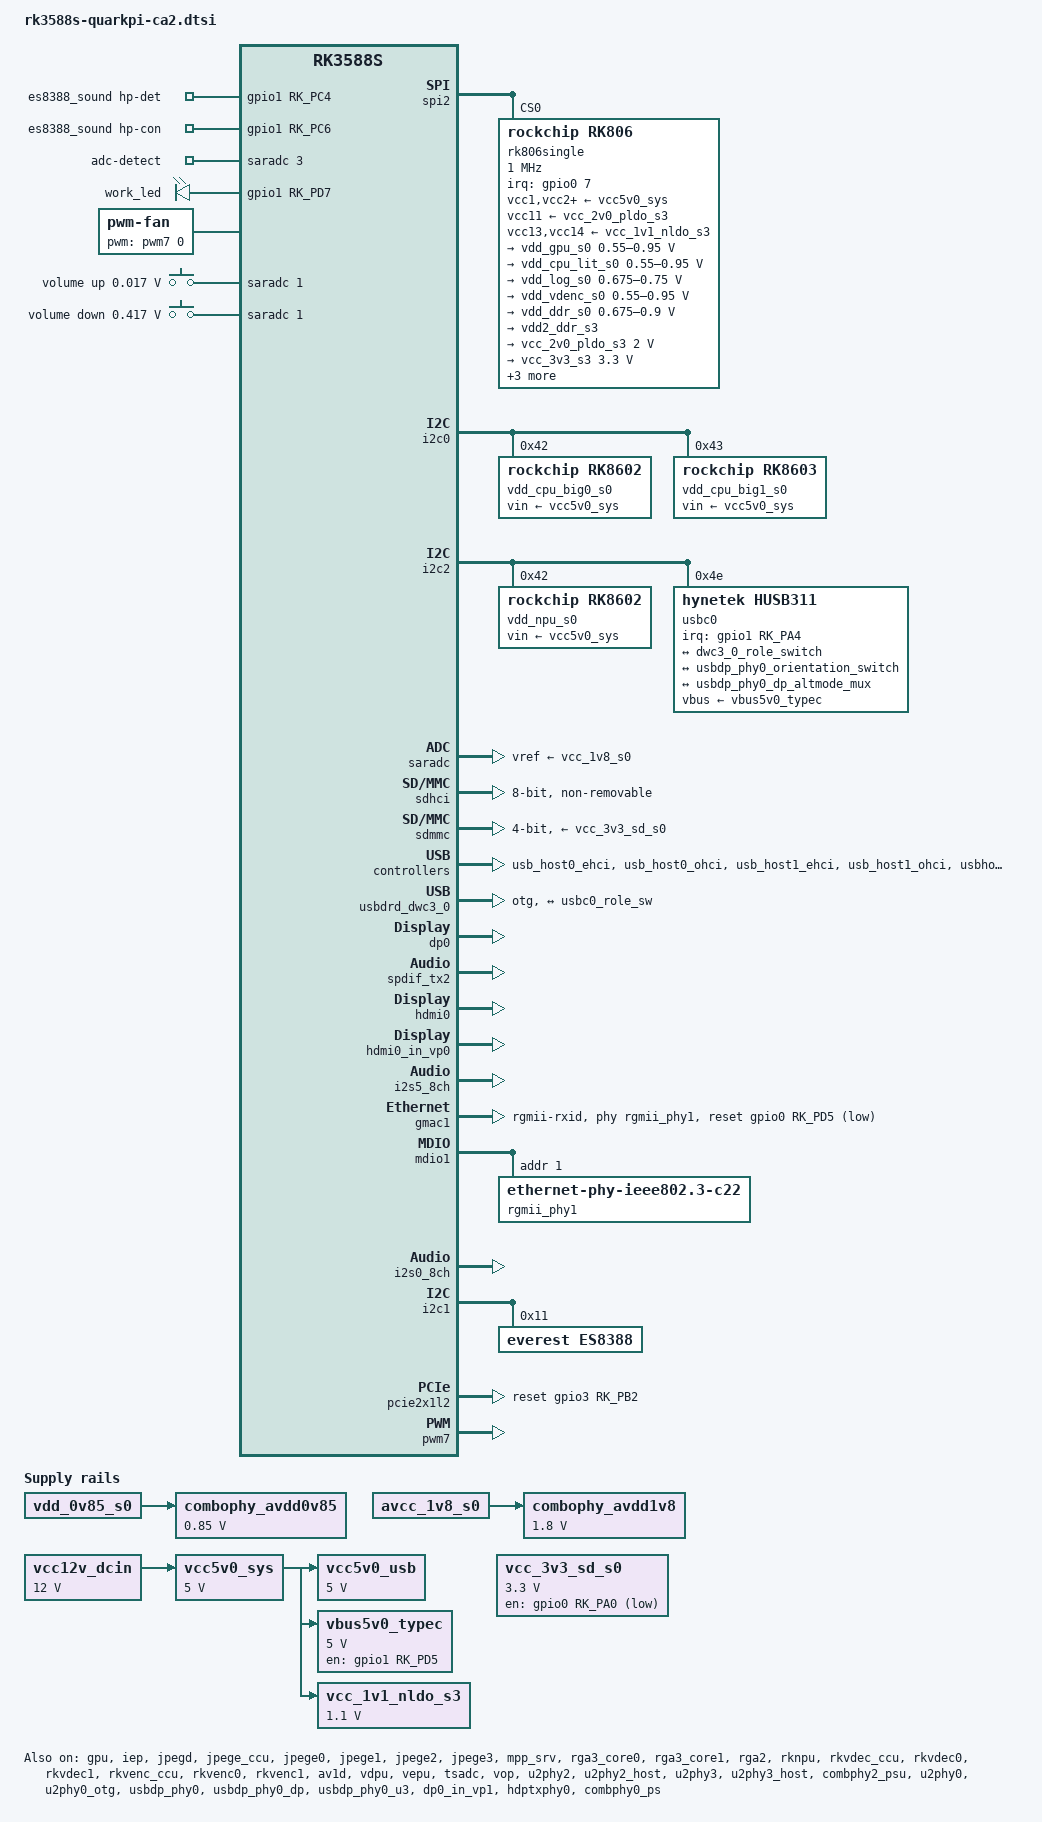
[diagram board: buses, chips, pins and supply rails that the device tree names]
// SPDX-License-Identifier: (GPL-2.0+ OR MIT)
/*
 * Copyright (c) 2021 Rockchip Electronics Co., Ltd.
 *
 */

#include <dt-bindings/gpio/gpio.h>
#include <dt-bindings/pinctrl/rockchip.h>
#include "dt-bindings/usb/pd.h"
#include <dt-bindings/gpio/gpio.h>
#include <dt-bindings/pwm/pwm.h>
#include <dt-bindings/pinctrl/rockchip.h>
#include <dt-bindings/input/rk-input.h>
#include <dt-bindings/display/drm_mipi_dsi.h>
#include <dt-bindings/display/rockchip_vop.h>
#include <dt-bindings/sensor-dev.h>
#include "rk3588s.dtsi"

/* power node  */
/ {  
	vcc12v_dcin: vcc12v-dcin {
		compatible = "regulator-fixed";
		regulator-name = "vcc12v_dcin";
		regulator-always-on;
		regulator-boot-on;
		regulator-min-microvolt = <12000000>;
		regulator-max-microvolt = <12000000>;
	};

	vcc5v0_sys: vcc5v0-sys {
		compatible = "regulator-fixed";
		regulator-name = "vcc5v0_sys";
		regulator-always-on;
		regulator-boot-on;
		regulator-min-microvolt = <5000000>;
		regulator-max-microvolt = <5000000>;
		vin-supply = <&vcc12v_dcin>;
	};

	vcc5v0_usb: vcc5v0-usb {
		compatible = "regulator-fixed";
		regulator-name = "vcc5v0_usb";
		regulator-always-on;
		regulator-boot-on;
		regulator-min-microvolt = <5000000>;
		regulator-max-microvolt = <5000000>;
		vin-supply = <&vcc5v0_sys>;
	};

	vbus5v0_typec: vbus5v0-typec {
		compatible = "regulator-fixed";
		regulator-name = "vbus5v0_typec";
		regulator-min-microvolt = <5000000>;
		regulator-max-microvolt = <5000000>;
		enable-active-high;
		gpio = <&gpio1 RK_PD5 GPIO_ACTIVE_HIGH>;
		vin-supply = <&vcc5v0_sys>;
		pinctrl-names = "default";
		pinctrl-0 = <&typec5v_pwren>;
	};

	vcc_1v1_nldo_s3: vcc-1v1-nldo-s3 {
		compatible = "regulator-fixed";
		regulator-name = "vcc_1v1_nldo_s3";
		regulator-always-on;
		regulator-boot-on;
		regulator-min-microvolt = <1100000>;
		regulator-max-microvolt = <1100000>;
		vin-supply = <&vcc5v0_sys>;
	};

	vcc_3v3_sd_s0: vcc-3v3-sd-s0-regulator {
		compatible = "regulator-fixed";
		gpio = <&gpio0 RK_PA0 GPIO_ACTIVE_LOW>;
		pinctrl-names = "default";
		pinctrl-0 = <&sd_s0_pwr>;
		regulator-name = "vcc_3v3_sd_s0";
		regulator-min-microvolt = <3300000>;
		regulator-max-microvolt = <3300000>;
		enable-active-low;
	};

	combophy_avdd0v85: combophy-avdd0v85 {
		compatible = "regulator-fixed";
		regulator-name = "combophy_avdd0v85";
		regulator-boot-on;
		regulator-always-on;
		regulator-min-microvolt = <850000>;
		regulator-max-microvolt = <850000>;
		vin-supply = <&vdd_0v85_s0>;
	};

	combophy_avdd1v8: combophy-avdd1v8 {
		compatible = "regulator-fixed";
		regulator-name = "combophy_avdd1v8";
		regulator-boot-on;
		regulator-always-on;
		regulator-min-microvolt = <1800000>;
		regulator-max-microvolt = <1800000>;
		vin-supply = <&avcc_1v8_s0>;
	};

};

&spi2 {
	status = "okay";
	assigned-clocks = <&cru CLK_SPI2>;
	assigned-clock-rates = <200000000>;
	pinctrl-names = "default";
	pinctrl-0 = <&spi2m2_cs0 &spi2m2_pins>;
	num-cs = <1>;

	rk806single: rk806single@0 {
		compatible = "rockchip,rk806";
		spi-max-frequency = <1000000>;
		reg = <0x0>;

		interrupt-parent = <&gpio0>;
		interrupts = <7 IRQ_TYPE_LEVEL_LOW>;

		pinctrl-names = "default", "pmic-power-off";
		pinctrl-0 = <&pmic_pins>, <&rk806_dvs1_null>, <&rk806_dvs2_null>, <&rk806_dvs3_null>;
		pinctrl-1 = <&rk806_dvs1_pwrdn>;

		/* 2800mv-3500mv */
		low_voltage_threshold = <3000>;
		/* 2700mv-3400mv */
		shutdown_voltage_threshold = <2700>;
		/* 140 160 */
		shutdown_temperture_threshold = <160>;
		hotdie_temperture_threshold = <115>;

		/* 0: restart PMU;
		 * 1: reset all the power off reset registers,
		 *    forcing the state to switch to ACTIVE mode;
		 * 2: Reset all the power off reset registers,
		 *    forcing the state to switch to ACTIVE mode,
		 *    and simultaneously pull down the RESETB PIN for 5mS before releasing
		 */
		pmic-reset-func = <1>;

		vcc1-supply = <&vcc5v0_sys>;
		vcc2-supply = <&vcc5v0_sys>;
		vcc3-supply = <&vcc5v0_sys>;
		vcc4-supply = <&vcc5v0_sys>;
		vcc5-supply = <&vcc5v0_sys>;
		vcc6-supply = <&vcc5v0_sys>;
		vcc7-supply = <&vcc5v0_sys>;
		vcc8-supply = <&vcc5v0_sys>;
		vcc9-supply = <&vcc5v0_sys>;
		vcc10-supply = <&vcc5v0_sys>;
		vcc11-supply = <&vcc_2v0_pldo_s3>;
		vcc12-supply = <&vcc5v0_sys>;
		vcc13-supply = <&vcc_1v1_nldo_s3>;
		vcc14-supply = <&vcc_1v1_nldo_s3>;
		vcca-supply = <&vcc5v0_sys>;

		pwrkey {
			status = "okay";
		};

		pinctrl_rk806: pinctrl_rk806 {
			gpio-controller;
			#gpio-cells = <2>;

			rk806_dvs1_null: rk806_dvs1_null {
				pins = "gpio_pwrctrl2";
				function = "pin_fun0";
			};

			rk806_dvs1_slp: rk806_dvs1_slp {
				pins = "gpio_pwrctrl1";
				function = "pin_fun1";
			};

			rk806_dvs1_pwrdn: rk806_dvs1_pwrdn {
				pins = "gpio_pwrctrl1";
				function = "pin_fun2";
			};

			rk806_dvs1_rst: rk806_dvs1_rst {
				pins = "gpio_pwrctrl1";
				function = "pin_fun3";
			};

			rk806_dvs2_null: rk806_dvs2_null {
				pins = "gpio_pwrctrl2";
				function = "pin_fun0";
			};

			rk806_dvs2_slp: rk806_dvs2_slp {
				pins = "gpio_pwrctrl2";
				function = "pin_fun1";
			};

			rk806_dvs2_pwrdn: rk806_dvs2_pwrdn {
				pins = "gpio_pwrctrl2";
				function = "pin_fun2";
			};

			rk806_dvs2_rst: rk806_dvs2_rst {
				pins = "gpio_pwrctrl2";
				function = "pin_fun3";
			};

			rk806_dvs2_dvs: rk806_dvs2_dvs {
				pins = "gpio_pwrctrl2";
				function = "pin_fun4";
			};

			rk806_dvs2_gpio: rk806_dvs2_gpio {
				pins = "gpio_pwrctrl2";
				function = "pin_fun5";
			};

			rk806_dvs3_null: rk806_dvs3_null {
				pins = "gpio_pwrctrl3";
				function = "pin_fun0";
			};

			rk806_dvs3_slp: rk806_dvs3_slp {
				pins = "gpio_pwrctrl3";
				function = "pin_fun1";
			};

			rk806_dvs3_pwrdn: rk806_dvs3_pwrdn {
				pins = "gpio_pwrctrl3";
				function = "pin_fun2";
			};

			rk806_dvs3_rst: rk806_dvs3_rst {
				pins = "gpio_pwrctrl3";
				function = "pin_fun3";
			};

			rk806_dvs3_dvs: rk806_dvs3_dvs {
				pins = "gpio_pwrctrl3";
				function = "pin_fun4";
			};

			rk806_dvs3_gpio: rk806_dvs3_gpio {
				pins = "gpio_pwrctrl3";
				function = "pin_fun5";
			};
		};

		regulators {
			vdd_gpu_s0: vdd_gpu_mem_s0: DCDC_REG1 {
				regulator-boot-on;
				regulator-min-microvolt = <550000>;
				regulator-max-microvolt = <950000>;
				regulator-ramp-delay = <12500>;
				regulator-name = "vdd_gpu_s0";
				regulator-enable-ramp-delay = <400>;
				regulator-state-mem {
					regulator-off-in-suspend;
				};
			};

			vdd_cpu_lit_s0: vdd_cpu_lit_mem_s0: DCDC_REG2 {
				regulator-always-on;
				regulator-boot-on;
				regulator-init-microvolt = <800000>;
				regulator-min-microvolt = <550000>;
				regulator-max-microvolt = <950000>;
				regulator-ramp-delay = <12500>;
				regulator-name = "vdd_cpu_lit_s0";
				regulator-state-mem {
					regulator-off-in-suspend;
				};
			};

			vdd_log_s0: DCDC_REG3 {
				regulator-always-on;
				regulator-boot-on;
				regulator-min-microvolt = <675000>;
				regulator-max-microvolt = <750000>;
				regulator-ramp-delay = <12500>;
				regulator-name = "vdd_log_s0";
				regulator-state-mem {
					regulator-off-in-suspend;
					regulator-suspend-microvolt = <750000>;
				};
			};

			vdd_vdenc_s0: vdd_vdenc_mem_s0: DCDC_REG4 {
				regulator-always-on;
				regulator-boot-on;
				regulator-min-microvolt = <550000>;
				regulator-max-microvolt = <950000>;
				regulator-init-microvolt = <750000>;
				regulator-ramp-delay = <12500>;
				regulator-name = "vdd_vdenc_s0";
				regulator-state-mem {
					regulator-off-in-suspend;
				};
			};

			vdd_ddr_s0: DCDC_REG5 {
				regulator-always-on;
				regulator-boot-on;
				regulator-min-microvolt = <675000>;
				regulator-max-microvolt = <900000>;
				regulator-ramp-delay = <12500>;
				regulator-name = "vdd_ddr_s0";
				regulator-state-mem {
					regulator-off-in-suspend;
					regulator-suspend-microvolt = <850000>;
				};
			};

			vdd2_ddr_s3: DCDC_REG6 {
				regulator-always-on;
				regulator-boot-on;
				regulator-name = "vdd2_ddr_s3";
				regulator-state-mem {
					regulator-on-in-suspend;
				};
			};

			vcc_2v0_pldo_s3: DCDC_REG7 {
				regulator-always-on;
				regulator-boot-on;
				regulator-min-microvolt = <2000000>;
				regulator-max-microvolt = <2000000>;
				regulator-name = "vdd_2v0_pldo_s3";
				regulator-state-mem {
					regulator-on-in-suspend;
					regulator-suspend-microvolt = <2000000>;
				};
			};

			vcc_3v3_s3: DCDC_REG8 {
				regulator-always-on;
				regulator-boot-on;
				regulator-min-microvolt = <3300000>;
				regulator-max-microvolt = <3300000>;
				regulator-name = "vcc_3v3_s3";
				regulator-state-mem {
					regulator-on-in-suspend;
					regulator-suspend-microvolt = <3300000>;
				};
			};

			vddq_ddr_s0: DCDC_REG9 {
				regulator-always-on;
				regulator-boot-on;
				regulator-name = "vddq_ddr_s0";
				regulator-state-mem {
					regulator-off-in-suspend;
				};
			};

			vcc_1v8_s3: DCDC_REG10 {
				regulator-always-on;
				regulator-boot-on;
				regulator-min-microvolt = <1800000>;
				regulator-max-microvolt = <1800000>;
				regulator-name = "vcc_1v8_s3";
				regulator-state-mem {
					regulator-on-in-suspend;
					regulator-suspend-microvolt = <1800000>;
				};
			};

			avcc_1v8_s0: PLDO_REG1 {
				regulator-always-on;
				regulator-boot-on;
				regulator-min-microvolt = <1800000>;
				regulator-max-microvolt = <1800000>;
				regulator-name = "avcc_1v8_s0";
				regulator-state-mem {
					regulator-off-in-suspend;
				};
			};

			vcc_1v8_s0: PLDO_REG2 {
				regulator-always-on;
				regulator-boot-on;
				regulator-min-microvolt = <1800000>;
				regulator-max-microvolt = <1800000>;
				regulator-name = "vcc_1v8_s0";
				regulator-state-mem {
					regulator-off-in-suspend;
					regulator-suspend-microvolt = <1800000>;
				};
			};

			avdd_1v2_s0: PLDO_REG3 {
				regulator-always-on;
				regulator-boot-on;
				regulator-min-microvolt = <1200000>;
				regulator-max-microvolt = <1200000>;
				regulator-name = "avdd_1v2_s0";
				regulator-state-mem {
					regulator-off-in-suspend;
				};
			};

			vcc_3v3_s0: PLDO_REG4 {
				regulator-always-on;
				regulator-boot-on;
				regulator-min-microvolt = <3300000>;
				regulator-max-microvolt = <3300000>;
				regulator-name = "vcc_3v3_s0";
				regulator-state-mem {
					regulator-off-in-suspend;
				};
			};

			vccio_sd_s0: PLDO_REG5 {
				regulator-always-on;
				regulator-boot-on;
				regulator-min-microvolt = <1800000>;
				regulator-max-microvolt = <3300000>;
				regulator-name = "vccio_sd_s0";
				regulator-state-mem {
					regulator-off-in-suspend;
				};
			};

			pldo6_s3: PLDO_REG6 {
				regulator-always-on;
				regulator-boot-on;
				regulator-min-microvolt = <1800000>;
				regulator-max-microvolt = <1800000>;
				regulator-name = "pldo6_s3";
				regulator-state-mem {
					regulator-on-in-suspend;
					regulator-suspend-microvolt = <1800000>;
				};
			};

			vdd_0v75_s3: NLDO_REG1 {
				regulator-always-on;
				regulator-boot-on;
				regulator-min-microvolt = <750000>;
				regulator-max-microvolt = <750000>;
				regulator-name = "vdd_0v75_s3";
				regulator-state-mem {
					regulator-on-in-suspend;
					regulator-suspend-microvolt = <750000>;
				};
			};

			vdd_ddr_pll_s0: NLDO_REG2 {
				regulator-always-on;
				regulator-boot-on;
				regulator-min-microvolt = <850000>;
				regulator-max-microvolt = <850000>;
				regulator-name = "vdd_ddr_pll_s0";
				regulator-state-mem {
					regulator-off-in-suspend;
					regulator-suspend-microvolt = <850000>;
				};
			};

			avdd_0v75_s0: NLDO_REG3 {
				regulator-always-on;
				regulator-boot-on;
				regulator-min-microvolt = <837500>;
				regulator-max-microvolt = <837500>;
				regulator-name = "avdd_0v75_s0";
				regulator-state-mem {
					regulator-off-in-suspend;
				};
			};

			vdd_0v85_s0: NLDO_REG4 {
				regulator-always-on;
				regulator-boot-on;
				regulator-min-microvolt = <850000>;
				regulator-max-microvolt = <850000>;
				regulator-name = "vdd_0v85_s0";
				regulator-state-mem {
					regulator-off-in-suspend;
				};
			};

			vdd_0v75_s0: NLDO_REG5 {
				regulator-always-on;
				regulator-boot-on;
				regulator-min-microvolt = <750000>;
				regulator-max-microvolt = <750000>;
				regulator-name = "vdd_0v75_s0";
				regulator-state-mem {
					regulator-off-in-suspend;
				};
			};
		};
	};
};

&i2c0 {
	status = "okay";
	pinctrl-names = "default";
	pinctrl-0 = <&i2c0m2_xfer>;

	vdd_cpu_big0_s0: vdd_cpu_big0_mem_s0: rk8602@42 {
		compatible = "rockchip,rk8602";
		reg = <0x42>;
		vin-supply = <&vcc5v0_sys>;
		regulator-compatible = "rk860x-reg";
		regulator-name = "vdd_cpu_big0_s0";
		regulator-min-microvolt = <550000>;
		regulator-max-microvolt = <1050000>;
		regulator-ramp-delay = <2300>;
		rockchip,suspend-voltage-selector = <1>;
		regulator-boot-on;
		regulator-always-on;
		regulator-state-mem {
			regulator-off-in-suspend;
		};
	};

	vdd_cpu_big1_s0: vdd_cpu_big1_mem_s0: rk8603@43 {
		compatible = "rockchip,rk8603";
		reg = <0x43>;
		vin-supply = <&vcc5v0_sys>;
		regulator-compatible = "rk860x-reg";
		regulator-name = "vdd_cpu_big1_s0";
		regulator-min-microvolt = <550000>;
		regulator-max-microvolt = <1050000>;
		regulator-ramp-delay = <2300>;
		rockchip,suspend-voltage-selector = <1>;
		regulator-boot-on;
		regulator-always-on;
		regulator-state-mem {
			regulator-off-in-suspend;
		};
	};
};

&i2c2 {
	status = "okay";
	pinctrl-0 = <&i2c2m0_xfer>;
	
	vdd_npu_s0: vdd_npu_mem_s0: rk8602@42 {
		compatible = "rockchip,rk8602";
		reg = <0x42>;
		vin-supply = <&vcc5v0_sys>;
		regulator-compatible = "rk860x-reg";
		regulator-name = "vdd_npu_s0";
		regulator-min-microvolt = <550000>;
		regulator-max-microvolt = <950000>;
		regulator-ramp-delay = <2300>;
		rockchip,suspend-voltage-selector = <1>;
		regulator-boot-on;
		regulator-always-on;
		regulator-state-mem {
			regulator-off-in-suspend;
		};
	};
};
/* power node end */	

/* cpu gpu vpu npu */
&cpu_l0 {
	cpu-supply = <&vdd_cpu_lit_s0>;
	mem-supply = <&vdd_cpu_lit_mem_s0>;
};

&cpu_b0 {
	cpu-supply = <&vdd_cpu_big0_s0>;
	mem-supply = <&vdd_cpu_big0_mem_s0>;
};

&cpu_b2 {
	cpu-supply = <&vdd_cpu_big1_s0>;
	mem-supply = <&vdd_cpu_big1_mem_s0>;
};

&gpu {
	mali-supply = <&vdd_gpu_s0>;
	mem-supply = <&vdd_gpu_mem_s0>;
	status = "okay";
};

&iep {
	status = "okay";
};

&iep_mmu {
	status = "okay";
};

&jpegd {
	status = "okay";
};

&jpegd_mmu {
	status = "okay";
};

&jpege_ccu {
	status = "okay";
};

&jpege0 {
	status = "okay";
};

&jpege0_mmu {
	status = "okay";
};

&jpege1 {
	status = "okay";
};

&jpege1_mmu {
	status = "okay";
};

&jpege2 {
	status = "okay";
};

&jpege2_mmu {
	status = "okay";
};

&jpege3 {
	status = "okay";
};

&jpege3_mmu {
	status = "okay";
};

&mpp_srv {
	status = "okay";
};

&rga3_core0 {
	status = "okay";
};

&rga3_0_mmu {
	status = "okay";
};

&rga3_core1 {
	status = "okay";
};

&rga3_1_mmu {
	status = "okay";
};

&rga2 {
	status = "okay";
};

&rknpu {
	rknpu-supply = <&vdd_npu_s0>;
	mem-supply = <&vdd_npu_mem_s0>;
	status = "okay";
};

&rknpu_mmu {
	status = "okay";
};

&rkvdec_ccu {
	status = "okay";
};

&rkvdec0 {
	status = "okay";
};

&rkvdec0_mmu {
	status = "okay";
};

&rkvdec1 {
	status = "okay";
};

&rkvdec1_mmu {
	status = "okay";
};

&rkvenc_ccu {
	status = "okay";
};

&rkvenc0 {
	venc-supply = <&vdd_vdenc_s0>;
	mem-supply = <&vdd_vdenc_mem_s0>;
	status = "okay";
};

&rkvenc0_mmu {
	status = "okay";
};

&rkvenc1 {
	venc-supply = <&vdd_vdenc_s0>;
	mem-supply = <&vdd_vdenc_mem_s0>;
	status = "okay";
};

&rkvenc1_mmu {
	status = "okay";
};

&av1d {
	status = "okay";
};

&av1d_mmu {
	status = "okay";
};

&vdpu {
	status = "okay";
};

&vdpu_mmu {
	status = "okay";
};

&vepu {
	status = "okay";
};

&tsadc {
	status = "okay";
};

&saradc {
	status = "okay";
	vref-supply = <&vcc_1v8_s0>;
};

&vop {
	assigned-clock-rates = <750000000>;
	disable-win-move;
	status = "okay";
};

&vop_mmu {
	status = "okay";
};

&vp0 {
	rockchip,plane-mask = <(1 << ROCKCHIP_VOP2_CLUSTER0 | 1 << ROCKCHIP_VOP2_ESMART0)>;
	rockchip,primary-plane = <ROCKCHIP_VOP2_ESMART0>;
};

&vp1 {
	rockchip,plane-mask = <(1 << ROCKCHIP_VOP2_CLUSTER1 | 1 << ROCKCHIP_VOP2_ESMART1)>;
	rockchip,primary-plane = <ROCKCHIP_VOP2_ESMART1>;
};

&vp2 {
	assigned-clocks = <&cru DCLK_VOP2_SRC>;
	assigned-clock-parents = <&cru PLL_GPLL>;
	rockchip,plane-mask = <(1 << ROCKCHIP_VOP2_CLUSTER2 | 1 << ROCKCHIP_VOP2_ESMART2)>;
	rockchip,primary-plane = <ROCKCHIP_VOP2_ESMART2>;
	
};

&vp3 {
	assigned-clocks = <&cru DCLK_VOP3>;
	assigned-clock-parents = <&cru PLL_V0PLL>;
	rockchip,plane-mask = <(1 << ROCKCHIP_VOP2_CLUSTER3 | 1 << ROCKCHIP_VOP2_ESMART3)>;
	rockchip,primary-plane = <ROCKCHIP_VOP2_ESMART3>;
};
/* cpu gpu vpu npu end */

/* emmc tfcard */
&sdhci {
	bus-width = <8>;
	no-sdio;
	no-sd;
	non-removable;
	max-frequency = <200000000>;
	mmc-hs400-1_8v;
	mmc-hs400-enhanced-strobe;
	full-pwr-cycle-in-suspend;
	status = "okay";
};

&sdmmc {
	max-frequency = <150000000>;
	no-sdio;
	no-mmc;
	bus-width = <4>;
	cap-mmc-highspeed;
	cap-sd-highspeed;
	disable-wp;
	sd-uhs-sdr104;
	vmmc-supply = <&vcc_3v3_sd_s0>;
	vqmmc-supply = <&vccio_sd_s0>;
	status = "okay";
};
/* emmc tfcard */


/* usb and typec */
//usb 2.0 host0
&u2phy2 {
	status = "okay";
};

&u2phy2_host {
	phy-supply = <&vcc5v0_usb>;
	status = "okay";
};

&usb_host0_ehci {
	status = "okay";
};

&usb_host0_ohci {
	status = "okay";
};

//usb 2.0 host1
&u2phy3 {
	status = "okay";
};

&u2phy3_host {
	phy-supply = <&vcc5v0_usb>;
	status = "okay";
};

&usb_host1_ehci {
	status = "okay";
};

&usb_host1_ohci {
	status = "okay";
};

//usb 3.0 host
&usbhost3_0 {
	status = "okay";
};

&usbhost_dwc3_0 {
	status = "okay";
};

&combphy2_psu {
	status = "okay";
};

//typec and dp
&u2phy0 {
	status = "okay";
};

&u2phy0_otg {
	rockchip,typec-vbus-det;
	status = "okay";
};

&usbdp_phy0 {
	status = "okay";
	orientation-switch;
	svid = <0xff01>;
	sbu1-dc-gpios = <&gpio1 RK_PA6 GPIO_ACTIVE_HIGH>;
	sbu2-dc-gpios = <&gpio1 RK_PA7 GPIO_ACTIVE_HIGH>;

	port {
		#address-cells = <1>;
		#size-cells = <0>;
		usbdp_phy0_orientation_switch: endpoint@0 {
			reg = <0>;
			remote-endpoint = <&usbc0_orien_sw>;
		};

		usbdp_phy0_dp_altmode_mux: endpoint@1 {
			reg = <1>;
			remote-endpoint = <&dp_altmode_mux>;
		};
	};
};

&usbdp_phy0_dp {
	status = "okay";
};

&usbdp_phy0_u3 {
	status = "okay";
};

&usbdrd3_0 {
	status = "okay";
};

&usbdrd_dwc3_0 {
	status = "okay";
	dr_mode = "otg";
	usb-role-switch;
	port {
		#address-cells = <1>;
		#size-cells = <0>;
		dwc3_0_role_switch: endpoint@0 {
			reg = <0>;
			remote-endpoint = <&usbc0_role_sw>;
		};
	};
};

&i2c2 {
	usbc0: husb311@4e {
		compatible = "hynetek,husb311";
		reg = <0x4e>;
		interrupt-parent = <&gpio1>;
		interrupts = <RK_PA4 IRQ_TYPE_LEVEL_LOW>;
		pinctrl-names = "default";
		pinctrl-0 = <&usbc0_int>;
		vbus-supply = <&vbus5v0_typec>;
		status = "okay";

		ports {
			#address-cells = <1>;
			#size-cells = <0>;

			port@0 {
				reg = <0>;
				usbc0_role_sw: endpoint@0 {
					remote-endpoint = <&dwc3_0_role_switch>;
				};
			};
		};

		usb_con: connector {
			compatible = "usb-c-connector";
			label = "USB-C";
			data-role = "dual";
			power-role = "dual";
			try-power-role = "sink";
			op-sink-microwatt = <1000000>;
			sink-pdos =
				<PDO_FIXED(5000, 1000, PDO_FIXED_USB_COMM)>;
			source-pdos =
				<PDO_FIXED(5000, 3000, PDO_FIXED_USB_COMM)>;

			altmodes {
				#address-cells = <1>;
				#size-cells = <0>;

				altmode@0 {
					reg = <0>;
					svid = <0xff01>;
					vdo = <0xffffffff>;
				};
			};

			ports {
				#address-cells = <1>;
				#size-cells = <0>;

				port@0 {
					reg = <0>;
					usbc0_orien_sw: endpoint {
						remote-endpoint = <&usbdp_phy0_orientation_switch>;
					};
				};

				port@1 {
					reg = <1>;
					dp_altmode_mux: endpoint {
						remote-endpoint = <&usbdp_phy0_dp_altmode_mux>;
					};
				};
			};
		};
	};
};

&dp0 {
	status = "okay";
};

&dp0_in_vp1 {
	status = "okay";
};

&spdif_tx2 {
	status = "okay";
};

/ {
	dp0_sound: dp0-sound {
		status = "okay";
		compatible = "rockchip,hdmi";
		rockchip,card-name= "rockchip-dp0";
		rockchip,mclk-fs = <512>;
		rockchip,cpu = <&spdif_tx2>;
		rockchip,codec = <&dp0 1>;
		rockchip,jack-det;
	};
};
/* usb typec end */

/* hdmi */
&hdmi0 {
	enable-gpios = <&gpio4 RK_PB6 GPIO_ACTIVE_HIGH>;
	status = "okay";
};

&hdmi0_in_vp0 {
	status = "okay";
};

&hdptxphy0 {
	status = "okay";
};

&i2s5_8ch {
	status = "okay";
};

/{
	hdmi0_sound: hdmi0-sound {
		status = "okay";
		compatible = "rockchip,hdmi";
		rockchip,mclk-fs = <128>;
		rockchip,card-name = "rockchip-hdmi0";
		rockchip,cpu = <&i2s5_8ch>;
		rockchip,codec = <&hdmi0>;
		rockchip,jack-det;
	};
};
/* hdmi end */

/* eth */
&gmac1 {
	/* Use rgmii-rxid mode to disable rx delay inside Soc */
	phy-mode = "rgmii-rxid";
	clock_in_out = "input";

	snps,reset-gpio = <&gpio0 RK_PD5 GPIO_ACTIVE_LOW>;
	snps,reset-active-low;
	/* Reset time is 20ms, 100ms for rtl8211f */
	snps,reset-delays-us = <0 20000 100000>;

	pinctrl-names = "default";
	pinctrl-0 = <&gmac1_miim
		     &gmac1_tx_bus2
		     &gmac1_rx_bus2
		     &gmac1_rgmii_clk
		     &gmac1_rgmii_bus
			 &gmac1_clkinout>;

	tx_delay = <0x2f>;
	rx_delay = <0x00>;

	phy-handle = <&rgmii_phy1>;
	status = "okay";
};

&mdio1 {
	rgmii_phy1: phy@1 {
		compatible = "ethernet-phy-ieee802.3-c22";
		reg = <0x1>;
	};
};
/* eth end */

/* audio codec */
&i2s0_8ch {
	status = "okay";
	pinctrl-0 = <&i2s0_lrck
		     &i2s0_sclk
		     &i2s0_sdi0
		     &i2s0_sdo0>;
};

&i2c1 {
	status = "okay";
	pinctrl-names = "default";
	pinctrl-0 = <&i2c1m4_xfer>;

	es8388: es8388@11 {
		status = "okay";
		#sound-dai-cells = <0>;
		compatible = "everest,es8388", "everest,es8323";
		reg = <0x11>;
		clocks = <&mclkout_i2s0>;
		clock-names = "mclk";
		assigned-clocks = <&mclkout_i2s0>;
		assigned-clock-rates = <12288000>;
		pinctrl-names = "default";
		pinctrl-0 = <&i2s0_mclk>;
	};
};

/ {
	es8388_sound: es8388-sound {
		status = "okay";
		compatible = "rockchip,multicodecs-card";
		rockchip,card-name = "rockchip-es8388";
		hp-det-gpio = <&gpio1 RK_PC4 GPIO_ACTIVE_HIGH>;
		io-channels = <&saradc 3>;
		io-channel-names = "adc-detect";
		keyup-threshold-microvolt = <1800000>;
		poll-interval = <100>;
		hp-con-gpio = <&gpio1 RK_PC6 GPIO_ACTIVE_HIGH>;
		rockchip,format = "i2s";
		rockchip,mclk-fs = <256>;
		rockchip,cpu = <&i2s0_8ch>;
		rockchip,codec = <&es8388>;
		rockchip,audio-routing =
			"Headphone", "LOUT1",
			"Headphone", "ROUT1",
			"Headphone", "Headphone Power",
			"Headphone", "Headphone Power",
			"LINPUT1", "Headset Mic",
			"LINPUT2", "Main Mic",
			"RINPUT1", "Headset Mic",
			"RINPUT2", "Main Mic";
		pinctrl-names = "default";
		pinctrl-0 = <&hp_det>;
		play-pause-key {
			label = "playpause";
			linux,code = <KEY_PLAYPAUSE>;
			press-threshold-microvolt = <2000>;
		};
	};
};
/* audio codec end*/

/* pcie */
&combphy0_ps {
	status = "okay";
};

&sata0 {
	status = "disabled"; /* sata0与pcie2x1l2复用了combphy0_ps, 需确保禁用 */
};

&pcie2x1l2 {
	reset-gpios = <&gpio3 RK_PB2 GPIO_ACTIVE_HIGH>;
	status = "okay";
};
/* pcie end */

/* led */
/ {
	leds: leds {
		compatible = "gpio-leds";
		work_led: work {
            pinctrl-names = "default";
	        pinctrl-0 = <&work_leds_gpio>;
            gpios = <&gpio1 RK_PD7 GPIO_ACTIVE_HIGH>;
	        linux,default-trigger = "heartbeat";
		};
	};
};
/* led end */

/* fan */
&pwm7 {
	status = "okay";
};

/ {
	fan: pwm-fan {
		compatible = "pwm-fan";
		#cooling-cells = <2>;
		pwms = <&pwm7 0 50000 0>;
		cooling-levels = <0 50 100 150 200 255>;//温度决定风扇转速
		rockchip,temp-trips = <
			50000	1
			55000	2
			60000	3
			65000	4
			70000	5
		>;
	};
};
/* fan end */

/* key */
/ {
	adc_keys: adc-keys {
		compatible = "adc-keys";
		io-channels = <&saradc 1>;
		io-channel-names = "buttons";
		keyup-threshold-microvolt = <1800000>;
		poll-interval = <100>;

		vol-up-key {
			label = "volume up";
			linux,code = <KEY_VOLUMEUP>;
			press-threshold-microvolt = <17000>;
		};

		vol-down-key {
			label = "volume down";
			linux,code = <KEY_VOLUMEDOWN>;
			press-threshold-microvolt = <417000>;
		};
	};
};
/* key end */

&pinctrl {
	headphone {
		hp_det: hp-det {
			rockchip,pins = <1 RK_PC4 RK_FUNC_GPIO &pcfg_pull_none>,
							<1 RK_PC6 RK_FUNC_GPIO &pcfg_pull_down>;
		};
	};

	sdmmc {
		sd_s0_pwr: sd-s0-pwr {
			rockchip,pins = <0 RK_PA0 RK_FUNC_GPIO &pcfg_pull_none>;
		};
	};

	usb-typec {
		usbc0_int: usbc0-int {
			rockchip,pins = <1 RK_PA4 RK_FUNC_GPIO &pcfg_pull_none>;
		};

		typec5v_pwren: typec5v-pwren {
			rockchip,pins = <1 RK_PD5 RK_FUNC_GPIO &pcfg_pull_down>;
		};
	};

	leds {
		work_leds_gpio: work-leds-gpio {
			rockchip,pins = <1 RK_PD7 RK_FUNC_GPIO &pcfg_pull_down>;
		};
	};
};
